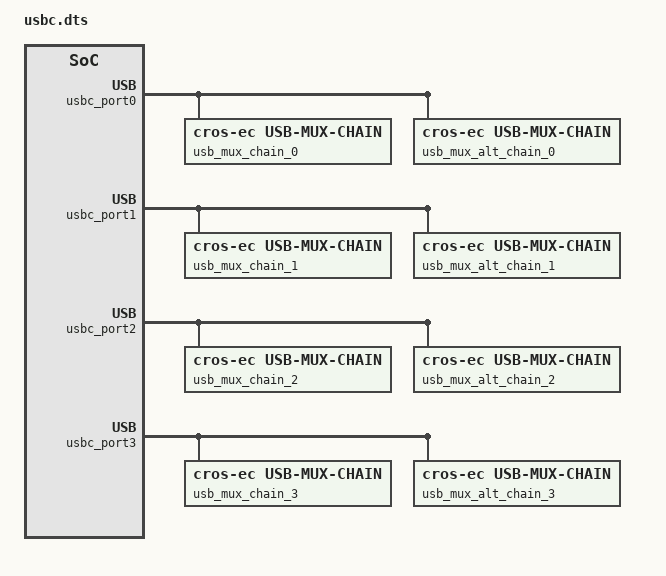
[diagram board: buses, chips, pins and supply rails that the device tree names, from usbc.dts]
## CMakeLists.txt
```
# Copyright 2022 The ChromiumOS Authors
# Use of this source code is governed by a BSD-style license that can be
# found in the LICENSE file.

zephyr_include_directories("${CMAKE_CURRENT_SOURCE_DIR}")
zephyr_library_sources("src/board_id.c")
zephyr_library_sources("src/common.c")
zephyr_library_sources("src/board_power.c")
zephyr_library_sources_ifdef(CONFIG_BOARD_MTLRVP_PD "src/pd.c")

if((DEFINED CONFIG_BOARD_MTLRVP_M1723) OR (DEFINED CONFIG_BOARD_MTLRVP_MCHP) OR (DEFINED CONFIG_BOARD_MTLRVP_NPCX))
  zephyr_library_sources("src/tcpc.c")
endif()

zephyr_library_sources_ifdef(CONFIG_PLATFORM_EC_KEYBOARD_CUSTOMIZATION
			"mtlrvpp_npcx/keyboard_customization.c")
```

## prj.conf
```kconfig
# Copyright 2022 The ChromiumOS Authors
# Use of this source code is governed by a BSD-style license that can be
# found in the LICENSE file.

# Power Sequencing
CONFIG_AP_X86_INTEL_MTL=y
CONFIG_AP_PWRSEQ_DRIVER=n
CONFIG_X86_NON_DSX_PWRSEQ_MTL=y
CONFIG_AP_PWRSEQ_POWER_SIGNALS=y
CONFIG_PLATFORM_EC_POWERSEQ_SLP_S3_L_OVERRIDE=n
CONFIG_PLATFORM_EC_POWERSEQ_PP5000_CONTROL=n

# Battery
CONFIG_PLATFORM_EC_BATTERY_V2=y

# CBI
CONFIG_EEPROM=y
CONFIG_PLATFORM_EC_BYPASS_CBI_EEPROM_WP_CHECK=y
CONFIG_PLATFORM_EC_SYSTEM_UNLOCKED=y

# Disable BC1.2
CONFIG_PLATFORM_EC_USB_CHARGER=n

# Charger
CONFIG_PLATFORM_EC_CHARGER_DISCHARGE_ON_AC=y
CONFIG_PLATFORM_EC_CHARGER_SENSE_RESISTOR=5
CONFIG_PLATFORM_EC_CHARGER_SENSE_RESISTOR_AC=10
CONFIG_PLATFORM_EC_CHARGE_RAMP_HW=n
CONFIG_PLATFORM_EC_CHARGER_ISL9241=y
CONFIG_PLATFORM_EC_DEDICATED_CHARGE_PORT=y
CONFIG_PLATFORM_EC_PD_MAX_POWER_MW=100000

# IOEX
CONFIG_PLATFORM_EC_IOEX_IT8801=y

#Keyboard from I/O expander
CONFIG_CROS_KB_RAW_NPCX=n

# Temperature sensors
CONFIG_PLATFORM_EC_TEMP_SENSOR_POWER=y

# Keyboard
CONFIG_PLATFORM_EC_KEYBOARD_PROTOCOL_8042=y

# MKBP events
CONFIG_PLATFORM_EC_MKBP_EVENT=y
CONFIG_PLATFORM_EC_MKBP_INPUT_DEVICES=y
CONFIG_PLATFORM_EC_MKBP_USE_HOST_EVENT=y

# Tablet mode
CONFIG_PLATFORM_EC_GMR_TABLET_MODE=n
CONFIG_PLATFORM_EC_TABLET_MODE=y
CONFIG_PLATFORM_EC_TABLET_MODE_SWITCH=y
```

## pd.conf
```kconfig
# Copyright 2023 The ChromiumOS Authors
# Use of this source code is governed by a BSD-style license that can be
# found in the LICENSE file.

CONFIG_PLATFORM_EC_USB_MUX_TASK=y
CONFIG_PLATFORM_EC_USB_PD_DP_MODE=y
CONFIG_PLATFORM_EC_USB_PD_HOST_CMD=y
CONFIG_PLATFORM_EC_USB_PD_REQUIRE_AP_MODE_ENTRY=n
CONFIG_PLATFORM_EC_USB_PD_REV30=y
CONFIG_PLATFORM_EC_USB_PD_TBT_COMPAT_MODE=y
CONFIG_PLATFORM_EC_USB_PD_VBUS_MEASURE_NOT_PRESENT=y
CONFIG_PLATFORM_EC_USB_PD_USB4=y
CONFIG_PLATFORM_EC_USBC_SS_MUX=y
CONFIG_PLATFORM_EC_USBC_RETIMER_FW_UPDATE=y

# Disable for testing purpose
CONFIG_PLATFORM_EC_CHARGER=n

# Disable Power Delivery Function
CONFIG_PLATFORM_EC_USB_POWER_DELIVERY=n
CONFIG_PLATFORM_EC_USBC_PPC=n
CONFIG_PLATFORM_EC_USB_PD_PPC=n
CONFIG_PLATFORM_EC_HOSTCMD_PD_CONTROL=n
CONFIG_PLATFORM_EC_HOSTCMD_PD_CHIP_INFO=n
CONFIG_PLATFORM_EC_HOSTCMD_RWHASHPD=n

# Disable typec host commands
CONFIG_PLATFORM_EC_HOSTCMD_TYPEC_DISCOVERY=n
CONFIG_PLATFORM_EC_HOSTCMD_TYPEC_CONTROL=n
CONFIG_PLATFORM_EC_HOSTCMD_TYPEC_STATUS=n
```

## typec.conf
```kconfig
# Copyright 2022 The ChromiumOS Authors
# Use of this source code is governed by a BSD-style license that can be
# found in the LICENSE file.

#USB CONFIG
CONFIG_PLATFORM_EC_USB_DRP_ACC_TRYSRC=y
CONFIG_PLATFORM_EC_USB_MUX_TASK=y
CONFIG_PLATFORM_EC_USBC_PPC_SN5S330=y
CONFIG_PLATFORM_EC_USBC_PPC=y
CONFIG_PLATFORM_EC_USB_PD_PPC=y
CONFIG_PLATFORM_EC_USB_PD_VBUS_DETECT_PPC=y
CONFIG_PLATFORM_EC_USB_PD_VBUS_DETECT_TCPC=y
CONFIG_PLATFORM_EC_USB_PD_VBUS_MEASURE_CHARGER=y
CONFIG_PLATFORM_EC_USB_PD_DISCHARGE_PPC=y
CONFIG_PLATFORM_EC_USB_PD_DISCHARGE_TCPC=y
CONFIG_PLATFORM_EC_USB_PD_TCPC_LOW_POWER=y
CONFIG_PLATFORM_EC_USB_PD_TCPM_MUX=y
CONFIG_PLATFORM_EC_USB_PD_TRY_SRC=y
CONFIG_PLATFORM_EC_USB_PD_TCPM_SBU=y
CONFIG_PLATFORM_EC_USB_PD_DUAL_ROLE_AUTO_TOGGLE=y
CONFIG_PLATFORM_EC_USBC_VCONN=y
CONFIG_PLATFORM_EC_USB_PD_TBT_COMPAT_MODE=y
CONFIG_PLATFORM_EC_USB_PD_USB32_DRD=y
CONFIG_PLATFORM_EC_USB_PD_USB4=y
CONFIG_PLATFORM_EC_USB_PD_INT_SHARED=y
CONFIG_PLATFORM_EC_USB_PD_PORT_0_SHARED=y
CONFIG_PLATFORM_EC_USB_PD_PORT_1_SHARED=y
```

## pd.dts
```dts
/* Copyright 2023 The ChromiumOS Authors
 * Use of this source code is governed by a BSD-style license that can be
 * found in the LICENSE file.
 */

#include <usbc-policy.dtsi>

/ {
	usbc {
		#address-cells = <1>;
		#size-cells = <0>;

		port0@0 {
			compatible = "named-pdc-port";
			reg = <0>;
			chg = <&charger>;
			alt-mode = <&pd_port0>;
			pdc = <&pd_pow_port0>;
			pd-retimer;
			usb-mux-chain-0 {
				compatible = "cros-ec,usb-mux-chain";
				usb-muxes = <&virtual_mux_0>;
			};
			policy = <&cros_policy>;
		};
		port0-muxes {
			virtual_mux_0: virtual-mux-0 {
				compatible = "cros-ec,usbc-mux-virtual";
			};
		};
		port1@1 {
			compatible = "named-pdc-port";
			reg = <1>;
			alt-mode = <&pd_port1>;
			pdc = <&pd_pow_port1>;
			pd-retimer;
			usb-mux-chain-1 {
				compatible = "cros-ec,usb-mux-chain";
				usb-muxes = <&virtual_mux_1>;
			};
			policy = <&cros_policy>;
		};
		port1-muxes {
			virtual_mux_1: virtual-mux-1 {
				compatible = "cros-ec,usbc-mux-virtual";
			};
		};
	};
};
```

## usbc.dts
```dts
/* Copyright 2022 The ChromiumOS Authors
 * Use of this source code is governed by a BSD-style license that can be
 * found in the LICENSE file.
 */

/ {
	usbc {
		#address-cells = <1>;
		#size-cells = <0>;

		usbc_port0: port0@0 {
			compatible = "named-usbc-port";
			reg = <0>;
			tcpc = <&tcpc_port0>;
			ppc = <&ppc_port0>;
			chg = <&charger>;
			pd-altmode = <&pd_port0>;
			usb_mux_chain_0: usb-mux-chain-0 {
				compatible = "cros-ec,usb-mux-chain";
				usb-muxes = <&usb_c0_hb_retimer
					     &virtual_mux_c0>;
			};
			usb_mux_alt_chain_0: usb-mux-atl-chain-0 {
				compatible = "cros-ec,usb-mux-chain";
				alternative-chain;
				usb-muxes = <&virtual_mux_c0>;
			};
		};
		port0-muxes {
			virtual_mux_c0: virtual-mux-c0 {
				compatible = "cros-ec,usbc-mux-virtual";
			};
		};

		usbc_port1: port1@1 {
			compatible = "named-usbc-port";
			reg = <1>;
			tcpc = <&tcpc_port1>;
			ppc = <&ppc_port1>;
			pd-altmode = <&pd_port1>;
			usb_mux_chain_1: usb-mux-chain-1 {
				compatible = "cros-ec,usb-mux-chain";
				usb-muxes = <&usb_c1_hb_retimer
					     &virtual_mux_c1>;
			};

			/* TODO:
			 * LP5 doesn't have port 1; should remove PD_C1
			 * task.
			 */
			usb_mux_alt_chain_1: usb-mux-alt-chain-1 {
				compatible = "cros-ec,usb-mux-chain";
				alternative-chain;
				usb-muxes = <&virtual_mux_c1>;
			};
		};
		port1-muxes {
			virtual_mux_c1: virtual-mux-c1 {
				compatible = "cros-ec,usbc-mux-virtual";
			};
		};

		usbc_port2: port2@2 {
			compatible = "named-usbc-port";
			reg = <2>;
			tcpc = <&tcpc_port2>;
			pd-altmode = <&pd_port2>;
			usb_mux_chain_2: usb-mux-chain-2 {
				compatible = "cros-ec,usb-mux-chain";
				usb-muxes = <&usb_c2_hb_retimer
					     &virtual_mux_c2>;
			};
			usb_mux_alt_chain_2: usb-mux-alt-chain-2 {
				compatible = "cros-ec,usb-mux-chain";
				alternative-chain;
				usb-muxes = <&usb_c2_alt_hb_retimer
					     &virtual_mux_c2>;
			};
		};
		port2-muxes {
			virtual_mux_c2: virtual-mux-c2 {
				compatible = "cros-ec,usbc-mux-virtual";
			};
		};

		usbc_port3: port3@3 {
			compatible = "named-usbc-port";
			reg = <3>;
			tcpc = <&tcpc_port3>;
			pd-altmode = <&pd_port3>;
			usb_mux_chain_3: usb-mux-chain-3 {
				compatible = "cros-ec,usb-mux-chain";
				usb-muxes = <&usb_c3_hb_retimer
					     &virtual_mux_c3>;
			};
			usb_mux_alt_chain_3: usb-mux-alt-chain-3 {
				compatible = "cros-ec,usb-mux-chain";
				alternative-chain;
				usb-muxes = <&usb_c3_alt_hb_retimer
					     &virtual_mux_c3>;
			};
		};
		port3-muxes {
			virtual_mux_c3: virtual-mux-c3 {
				compatible = "cros-ec,usbc-mux-virtual";
			};
		};
	};
};
```

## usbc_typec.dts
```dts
/* Copyright 2022 The ChromiumOS Authors
 * Use of this source code is governed by a BSD-style license that can be
 * found in the LICENSE file.
 */

&usbc_port0 {
	tcpc = <&tcpc_port0>;
	ppc = <&ppc_port0>;
};
&usbc_port1 {
	tcpc = <&tcpc_port1>;
	ppc = <&ppc_port1>;
};
&usbc_port2 {
	tcpc = <&tcpc_port2>;
};
&usbc_port3 {
	tcpc = <&tcpc_port3>;
};
```

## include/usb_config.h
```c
/* Copyright 2022 The ChromiumOS Authors
 * Use of this source code is governed by a BSD-style license that can be
 * found in the LICENSE file.
 */

void board_connect_c0_sbu_deferred(void);
void configure_retimer_usbmux(void);
```

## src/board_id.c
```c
/* Copyright 2024 The ChromiumOS Authors
 * Use of this source code is governed by a BSD-style license that can be
 * found in the LICENSE file.
 */

#include "common.h"
#include "console.h"
#include "intel_rvp_board_id.h"
#include "intelrvp.h"

#define CPRINTF(format, args...) cprintf(CC_COMMAND, format, ##args)
#define CPRINTS(format, args...) cprints(CC_COMMAND, format, ##args)

/*
 * Returns board information (board id[7:0] and Fab id[15:8]) on success
 * -1 on error.
 */
__override int board_get_version(void)
{
	/* Cache the MTLRVP board ID */
	static int mtlrvp_board_id;

	int i;
	int rv = EC_ERROR_UNKNOWN;
	int fab_id, board_id, bom_id;

	/* Board ID is already read */
	if (mtlrvp_board_id)
		return mtlrvp_board_id;

	/*
	 * IOExpander that has Board ID information is on DSW-VAL rail on
	 * MTL RVP. On cold boot cycles, DSW-VAL rail is taking time to settle.
	 * This loop retries to ensure rail is settled and read is successful
	 */
	for (i = 0; i < RVP_VERSION_READ_RETRY_CNT; i++) {
		rv = gpio_pin_get_dt(&bom_id_config[0]);

		if (rv >= 0)
			break;

		k_msleep(1);
	}

	/* return -1 if failed to read board id */
	if (rv)
		return -1;

	/*
	 * BOM ID [2]   : IOEX[0]
	 * BOM ID [1:0] : IOEX[15:14]
	 */
	bom_id = gpio_pin_get_dt(&bom_id_config[0]) << 2;
	bom_id |= gpio_pin_get_dt(&bom_id_config[1]) << 1;
	bom_id |= gpio_pin_get_dt(&bom_id_config[2]);
	/*
	 * FAB ID [1:0] : IOEX[2:1] + 1
	 */
	fab_id = gpio_pin_get_dt(&fab_id_config[0]) << 1;
	fab_id |= gpio_pin_get_dt(&fab_id_config[1]);
	fab_id += 1;

	/*
	 * BOARD ID[5:0] : IOEX[13:8]
	 */
	board_id = gpio_pin_get_dt(&board_id_config[0]) << 5;
	board_id |= gpio_pin_get_dt(&board_id_config[1]) << 4;
	board_id |= gpio_pin_get_dt(&board_id_config[2]) << 3;
	board_id |= gpio_pin_get_dt(&board_id_config[3]) << 2;
	board_id |= gpio_pin_get_dt(&board_id_config[4]) << 1;
	board_id |= gpio_pin_get_dt(&board_id_config[5]);

	CPRINTF("BID:0x%x, FID:0x%x, BOM:0x%x", board_id, fab_id, bom_id);

	mtlrvp_board_id = board_id | (fab_id << 8);
	return mtlrvp_board_id;
}
```

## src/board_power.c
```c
/* Copyright 2022 The ChromiumOS Authors
 * Use of this source code is governed by a BSD-style license that can be
 * found in the LICENSE file.
 */

#include "gpio/gpio.h"
#include "gpio_signal.h"
#include "system_boot_time.h"

#include <zephyr/drivers/gpio.h>
#include <zephyr/logging/log.h>
#include <zephyr/sys/atomic.h>

#include <ap_power/ap_power.h>
#include <ap_power/ap_power_events.h>
#include <ap_power/ap_power_interface.h>
#include <ap_power_override_functions.h>
#include <power_signals.h>
#include <x86_power_signals.h>

LOG_MODULE_DECLARE(ap_pwrseq, LOG_LEVEL_INF);

#if defined(CONFIG_X86_NON_DSX_PWRSEQ_MTL) || \
	defined(CONFIG_TEST_X86_NON_DSX_PWRSEQ_MTL)
#define X86_NON_DSX_MTL_FORCE_SHUTDOWN_TO_MS 50

void board_ap_power_force_shutdown(void)
{
	int timeout_ms = X86_NON_DSX_MTL_FORCE_SHUTDOWN_TO_MS;

	/* Assert PCH_RSMRST to meet tPCH12 */
	power_signal_set(PWR_EC_PCH_RSMRST, 1);

	/* Turn off PRIM load switch. */
	power_signal_set(PWR_EN_PP3300_A, 0);

	/* Wait RSMRST to be off. */
	while (power_signal_get(PWR_RSMRST_PWRGD) && (timeout_ms > 0)) {
		k_msleep(1);
		timeout_ms--;
	};

	if (power_signal_get(PWR_RSMRST_PWRGD))
		LOG_WRN("RSMRST_ODL didn't go low!  Assuming G3.");
}

void board_ap_power_action_g3_s5(void)
{
	/* Turn on the PP3300_PRIM rail. */
	power_signal_set(PWR_EN_PP3300_A, 1);

	update_ap_boot_time(ARAIL);
	if (!power_wait_signals_on_timeout(
		    IN_PGOOD_ALL_CORE,
		    AP_PWRSEQ_DT_VALUE(wait_signal_timeout))) {
		ap_power_ev_send_callbacks(AP_POWER_PRE_INIT);
	}
}

bool board_ap_power_check_power_rails_enabled(void)
{
	return power_signal_get(PWR_EN_PP3300_A);
}
#endif /* CONFIG_X86_NON_DSX_PWRSEQ_MTL */
```

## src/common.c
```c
/* Copyright 2024 The ChromiumOS Authors
 * Use of this source code is governed by a BSD-style license that can be
 * found in the LICENSE file.
 */

#include "common.h"
#include "keyboard_raw.h"

#include <zephyr/drivers/espi.h>

/* eSPI device */
#define espi_dev DEVICE_DT_GET(DT_CHOSEN(cros_ec_espi))

__override void board_overcurrent_event(int port, int is_overcurrented)
{
	/*
	 * Meteorlake PCH uses Virtual Wire for over current error,
	 * hence Send 'Over Current Virtual Wire' eSPI signal.
	 */
	espi_send_vwire(espi_dev, port + ESPI_VWIRE_SIGNAL_TARGET_GPIO_0,
			!is_overcurrented);
}

/******************************************************************************/
/* KSO mapping for discrete keyboard */
__override const uint8_t it8801_kso_mapping[] = {
	0, 1, 20, 3, 4, 5, 6, 11, 12, 13, 14, 15, 16,
};
//BUILD_ASSERT(ARRAY_SIZE(it8801_kso_mapping) == KEYBOARD_COLS_MAX);
```

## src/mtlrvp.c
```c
/* Copyright 2022 The ChromiumOS Authors
 * Use of this source code is governed by a BSD-style license that can be
 * found in the LICENSE file.
 */

#include "common.h"
#include "console.h"
#include "extpower.h"
#include "gpio.h"
#include "gpio/gpio_int.h"
#include "hooks.h"
#include "intel_rvp_board_id.h"
#include "intelrvp.h"
#include "keyboard_raw.h"
#include "task.h"

#include <zephyr/drivers/espi.h>

#define CPRINTF(format, args...) cprintf(CC_COMMAND, format, ##args)
#define CPRINTS(format, args...) cprints(CC_COMMAND, format, ##args)

#ifndef CONFIG_TEST_PROJECT_BOARD_ID
/* eSPI device */
#define espi_dev DEVICE_DT_GET(DT_CHOSEN(cros_ec_espi))

__override void board_overcurrent_event(int port, int is_overcurrented)
{
	/*
	 * Meteorlake PCH uses Virtual Wire for over current error,
	 * hence Send 'Over Current Virtual Wire' eSPI signal.
	 */
	espi_send_vwire(espi_dev, port + ESPI_VWIRE_SIGNAL_TARGET_GPIO_0,
			!is_overcurrented);
}

/******************************************************************************/
/* KSO mapping for discrete keyboard */
__override const uint8_t it8801_kso_mapping[] = {
	0, 1, 20, 3, 4, 5, 6, 11, 12, 13, 14, 15, 16,
};
BUILD_ASSERT(ARRAY_SIZE(it8801_kso_mapping) == KEYBOARD_COLS_MAX);
#endif

/*
 * Returns board information (board id[7:0] and Fab id[15:8]) on success
 * -1 on error.
 */
__override int board_get_version(void)
{
	/* Cache the MTLRVP board ID */
	static int mtlrvp_board_id;

	int i;
	int rv = EC_ERROR_UNKNOWN;
	int fab_id, board_id, bom_id;

	/* Board ID is already read */
	if (mtlrvp_board_id)
		return mtlrvp_board_id;

	/*
	 * IOExpander that has Board ID information is on DSW-VAL rail on
	 * MTL RVP. On cold boot cycles, DSW-VAL rail is taking time to settle.
	 * This loop retries to ensure rail is settled and read is successful
	 */
	for (i = 0; i < RVP_VERSION_READ_RETRY_CNT; i++) {
		rv = gpio_pin_get_dt(&bom_id_config[0]);

		if (rv >= 0)
			break;

		k_msleep(1);
	}

	/* return -1 if failed to read board id */
	if (rv)
		return -1;

	/*
	 * BOM ID [2]   : IOEX[0]
	 * BOM ID [1:0] : IOEX[15:14]
	 */
	bom_id = gpio_pin_get_dt(&bom_id_config[0]) << 2;
	bom_id |= gpio_pin_get_dt(&bom_id_config[1]) << 1;
	bom_id |= gpio_pin_get_dt(&bom_id_config[2]);
	/*
	 * FAB ID [1:0] : IOEX[2:1] + 1
	 */
	fab_id = gpio_pin_get_dt(&fab_id_config[0]) << 1;
	fab_id |= gpio_pin_get_dt(&fab_id_config[1]);
	fab_id += 1;

	/*
	 * BOARD ID[5:0] : IOEX[13:8]
	 */
	board_id = gpio_pin_get_dt(&board_id_config[0]) << 5;
	board_id |= gpio_pin_get_dt(&board_id_config[1]) << 4;
	board_id |= gpio_pin_get_dt(&board_id_config[2]) << 3;
	board_id |= gpio_pin_get_dt(&board_id_config[3]) << 2;
	board_id |= gpio_pin_get_dt(&board_id_config[4]) << 1;
	board_id |= gpio_pin_get_dt(&board_id_config[5]);

	CPRINTF("BID:0x%x, FID:0x%x, BOM:0x%x", board_id, fab_id, bom_id);

	mtlrvp_board_id = board_id | (fab_id << 8);
	return mtlrvp_board_id;
}
```

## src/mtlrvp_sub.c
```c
/* Copyright 2022 The ChromiumOS Authors
 * Use of this source code is governed by a BSD-style license that can be
 * found in the LICENSE file.
 */

#include "battery.h"
#include "battery_fuel_gauge.h"
#include "charger.h"
#include "common.h"
#include "console.h"
#include "extpower.h"
#include "gpio.h"
#include "gpio/gpio_int.h"
#include "hooks.h"
#include "i2c.h"
#include "intel_rvp_board_id.h"
#include "intelrvp.h"
#include "ioexpander.h"
#include "isl9241.h"
#include "keyboard_raw.h"
#include "power/meteorlake.h"
#include "sn5s330.h"
#include "system.h"
#include "task.h"
#include "tusb1064.h"
#include "usb_mux.h"
#include "usbc/usb_muxes.h"
#include "util.h"
#include "usb_config.h"
#include <zephyr/drivers/espi.h>

#define CPRINTF(format, args...) cprintf(CC_COMMAND, format, ##args)
#define CPRINTS(format, args...) cprints(CC_COMMAND, format, ##args)

/* eSPI device */
#define espi_dev DEVICE_DT_GET(DT_CHOSEN(cros_ec_espi))

__override void board_overcurrent_event(int port, int is_overcurrented)
{
	/*
	 * Meteorlake PCH uses Virtual Wire for over current error,
	 * hence Send 'Over Current Virtual Wire' eSPI signal.
	 */
	espi_send_vwire(espi_dev, port + ESPI_VWIRE_SIGNAL_SLV_GPIO_0,
			!is_overcurrented);
}

/******************************************************************************/
/* KSO mapping for discrete keyboard */
__override const uint8_t it8801_kso_mapping[] = {
	0, 1, 20, 3, 4, 5, 6, 11, 12, 13, 14, 15, 16,
};
BUILD_ASSERT(ARRAY_SIZE(it8801_kso_mapping) == KEYBOARD_COLS_MAX);

/* PWROK signal configuration */
/*
 * On MTLRVP, SYS_PWROK_EC is an output controlled by EC and uses ALL_SYS_PWRGD
 * as input.
 */
const struct intel_x86_pwrok_signal pwrok_signal_assert_list[] = {
	{
		.gpio = GPIO_PCH_SYS_PWROK,
		.delay_ms = 3,
	},
};
const int pwrok_signal_assert_count = ARRAY_SIZE(pwrok_signal_assert_list);

const struct intel_x86_pwrok_signal pwrok_signal_deassert_list[] = {
	{
		.gpio = GPIO_PCH_SYS_PWROK,
	},
};
const int pwrok_signal_deassert_count = ARRAY_SIZE(pwrok_signal_deassert_list);

/*
 * Returns board information (board id[7:0] and Fab id[15:8]) on success
 * -1 on error.
 */
__override int board_get_version(void)
{
	/* Cache the MTLRVP board ID */
	static int mtlrvp_board_id;

	int i;
	int rv = EC_ERROR_UNKNOWN;
	int fab_id, board_id, bom_id;

	/* Board ID is already read */
	if (mtlrvp_board_id)
		return mtlrvp_board_id;

	/*
	 * IOExpander that has Board ID information is on DSW-VAL rail on
	 * MTL RVP. On cold boot cycles, DSW-VAL rail is taking time to settle.
	 * This loop retries to ensure rail is settled and read is successful
	 */
	for (i = 0; i < RVP_VERSION_READ_RETRY_CNT; i++) {
		rv = gpio_pin_get_dt(&bom_id_config[0]);

		if (rv >= 0)
			break;

		k_msleep(1);
	}

	/* return -1 if failed to read board id */
	if (rv)
		return -1;

	/*
	 * BOM ID [2]   : IOEX[0]
	 * BOM ID [1:0] : IOEX[15:14]
	 */
	bom_id = gpio_pin_get_dt(&bom_id_config[0]) << 2;
	bom_id |= gpio_pin_get_dt(&bom_id_config[1]) << 1;
	bom_id |= gpio_pin_get_dt(&bom_id_config[2]);
	/*
	 * FAB ID [1:0] : IOEX[2:1] + 1
	 */
	fab_id = gpio_pin_get_dt(&fab_id_config[0]) << 1;
	fab_id |= gpio_pin_get_dt(&fab_id_config[1]);
	fab_id += 1;

	/*
	 * BOARD ID[5:0] : IOEX[13:8]
	 */
	board_id = gpio_pin_get_dt(&board_id_config[0]) << 5;
	board_id |= gpio_pin_get_dt(&board_id_config[1]) << 4;
	board_id |= gpio_pin_get_dt(&board_id_config[2]) << 3;
	board_id |= gpio_pin_get_dt(&board_id_config[3]) << 2;
	board_id |= gpio_pin_get_dt(&board_id_config[4]) << 1;
	board_id |= gpio_pin_get_dt(&board_id_config[5]);

	CPRINTF("BID:0x%x, FID:0x%x, BOM:0x%x", board_id, fab_id, bom_id);

	mtlrvp_board_id = board_id | (fab_id << 8);
	return mtlrvp_board_id;
}
```

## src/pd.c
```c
/* Copyright 2023 The ChromiumOS Authors
 * Use of this source code is governed by a BSD-style license that can be
 * found in the LICENSE file.
 */

#include "common.h"

#if 0
void board_dc_jack_interrupt(enum gpio_signal signal)
{
}
#endif

void board_charging_enable(int port, int enable)
{
}

int board_vbus_source_enabled(int port)
{
	return 0;
}
```

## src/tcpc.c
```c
/* Copyright 2023 The ChromiumOS Authors
 * Use of this source code is governed by a BSD-style license that can be
 * found in the LICENSE file.
 */

#include "driver/retimer/bb_retimer_public.h"
#include "driver/tcpm/ccgxxf.h"
#include "driver/tcpm/nct38xx.h"
#include "driver/tcpm/tcpci.h"
#include "gpio.h"
#include "gpio/gpio_int.h"
#include "hooks.h"
#include "intelrvp.h"
#include "ioexpander.h"
#include "isl9241.h"
#include "sn5s330.h"
#include "tusb1064.h"
#include "usb_mux.h"
#include "usbc/usb_muxes.h"
#include "usbc_ppc.h"

#define CPRINTF(format, args...) cprintf(CC_COMMAND, format, ##args)
#define CPRINTS(format, args...) cprints(CC_COMMAND, format, ##args)

/*******************************************************************/
/* USB-C Configuration Start */

/* PPC */
#define I2C_ADDR_SN5S330_P0 0x40
#define I2C_ADDR_SN5S330_P1 0x41

#define MTLP_DDR5_RVP_SKU_BOARD_ID 0x01
#define MTLP_LP5_RVP_SKU_BOARD_ID 0x02
#define MTL_RVP_BOARD_ID(id) ((id)&0x3F)

/* IOEX ports */
enum ioex_port {
	IOEX_KBD = 0,
#if defined(HAS_TASK_PD_C2)
	IOEX_C2_CCGXXF,
#endif
	IOEX_COUNT
};

/* USB-C ports */
enum usbc_port {
	USBC_PORT_C0 = 0,
	USBC_PORT_C1,
#if defined(HAS_TASK_PD_C2)
	USBC_PORT_C2,
	USBC_PORT_C3,
#endif
	USBC_PORT_COUNT
};
BUILD_ASSERT(USBC_PORT_COUNT == CONFIG_USB_PD_PORT_MAX_COUNT);

/* TCPC AIC GPIO Configuration */
const struct tcpc_aic_config_t tcpc_aic_config[] = {
	[USBC_PORT_C0] = {
		.tcpc_alert = GPIO_SIGNAL(DT_NODELABEL(usbc_tcpc_alrt_p0)),
	},
	[USBC_PORT_C1] = {
		.tcpc_alert = GPIO_SIGNAL(DT_NODELABEL(usbc_tcpc_alrt_p0)),
	},
#if defined(HAS_TASK_PD_C2)
	[USBC_PORT_C2] = {
		.tcpc_alert = GPIO_SIGNAL(DT_NODELABEL(usbc_tcpc_alrt_p2)),
	},
	[USBC_PORT_C3] = {
		.tcpc_alert = GPIO_SIGNAL(DT_NODELABEL(usbc_tcpc_alrt_p3)),
	},
#endif
};
BUILD_ASSERT(ARRAY_SIZE(tcpc_aic_config) == CONFIG_USB_PD_PORT_MAX_COUNT);

static void board_connect_c0_sbu_deferred(void)
{
	enum pd_power_role prole;

	if (gpio_get_level(GPIO_CCD_MODE_ODL)) {
		CPRINTS("Default AUX line connected");
		/* Default set the SBU lines to AUX mode */
		ioex_set_level(IOEX_USB_C0_MUX_SBU_SEL_1, 0);
		ioex_set_level(IOEX_USB_C0_MUX_SBU_SEL_0, 1);
	} else {
		prole = pd_get_power_role(USBC_PORT_C0);
		CPRINTS("%s debug device is attached",
			prole == PD_ROLE_SINK ? "Servo V4C/SuzyQ" : "Intel");

		if (prole == PD_ROLE_SINK) {
			/* Set the SBU lines to Google CCD mode */
			ioex_set_level(IOEX_USB_C0_MUX_SBU_SEL_1, 1);
			ioex_set_level(IOEX_USB_C0_MUX_SBU_SEL_0, 1);
		} else {
			/* Set the SBU lines to Intel CCD mode */
			ioex_set_level(IOEX_USB_C0_MUX_SBU_SEL_1, 0);
			ioex_set_level(IOEX_USB_C0_MUX_SBU_SEL_0, 0);
		}
	}
}
DECLARE_DEFERRED(board_connect_c0_sbu_deferred);

void board_reset_pd_mcu(void)
{
	/* Reset NCT38XX TCPC */
	gpio_pin_set_dt(GPIO_DT_FROM_NODELABEL(usb_c0_c1_tcpc_rst_odl), 0);
	msleep(NCT38XX_RESET_HOLD_DELAY_MS);
	gpio_pin_set_dt(GPIO_DT_FROM_NODELABEL(usb_c0_c1_tcpc_rst_odl), 1);
	nct38xx_reset_notify(0);
	nct38xx_reset_notify(1);

	if (NCT3807_RESET_POST_DELAY_MS != 0) {
		msleep(NCT3807_RESET_POST_DELAY_MS);
	}

	/* NCT38XX chip uses gpio ioex */
	gpio_reset_port(DEVICE_DT_GET(DT_NODELABEL(ioex_c0)));
	gpio_reset_port(DEVICE_DT_GET(DT_NODELABEL(ioex_c1)));

#if defined(HAS_TASK_PD_C2)
	/* Reset the ccgxxf ports only resetting 1 is required */
	ccgxxf_reset(USBC_PORT_C2);

	/* CCGXXF has ioex on port 2 */
	ioex_init(IOEX_C2_CCGXXF);
#endif
}

void board_connect_c0_sbu(enum gpio_signal signal)
{
	hook_call_deferred(&board_connect_c0_sbu_deferred_data, 0);
}

static void board_int_init(void)
{
	/* Enable TCPC interrupts. */
	gpio_enable_dt_interrupt(GPIO_INT_FROM_NODELABEL(int_usb_c0_c1_tcpc));
#if defined(HAS_TASK_PD_C2)
	gpio_enable_dt_interrupt(GPIO_INT_FROM_NODELABEL(int_usb_c2_tcpc));
	gpio_enable_dt_interrupt(GPIO_INT_FROM_NODELABEL(int_usb_c3_tcpc));
#endif

	/* Enable CCD Mode interrupt */
	gpio_enable_dt_interrupt(GPIO_INT_FROM_NODELABEL(int_ccd_mode));
}

static void configure_retimer_usbmux(void)
{
	switch (MTL_RVP_BOARD_ID(board_get_version())) {
	case MTLP_LP5_RVP_SKU_BOARD_ID:
		/* No retimer on Port 0 */
		USB_MUX_ENABLE_ALTERNATIVE(usb_mux_alt_chain_0);
		USB_MUX_ENABLE_ALTERNATIVE(usb_mux_alt_chain_1);
#if defined(HAS_TASK_PD_C2)
		USB_MUX_ENABLE_ALTERNATIVE(usb_mux_alt_chain_2);
		USB_MUX_ENABLE_ALTERNATIVE(usb_mux_alt_chain_3);
#endif
		break;
		/* Add additional board SKUs */
	default:
		break;
	}
}

__override bool board_is_tbt_usb4_port(int port)
{
	bool tbt_usb4 = true;

	switch (MTL_RVP_BOARD_ID(board_get_version())) {
	case MTLP_LP5_RVP_SKU_BOARD_ID:
		/* No retimer on port 0; and port 1 is not available */
		if ((port == USBC_PORT_C0) || (port == USBC_PORT_C1))
			tbt_usb4 = false;
		break;
	default:
		break;
	}
	return tbt_usb4;
}

__override enum tbt_compat_cable_speed board_get_max_tbt_speed(int port)
{
	enum tbt_compat_cable_speed max_speed = TBT_SS_TBT_GEN3;

	switch (MTL_RVP_BOARD_ID(board_get_version())) {
	case MTLP_LP5_RVP_SKU_BOARD_ID:
		if (port == USBC_PORT_C2)
			max_speed = TBT_SS_U32_GEN1_GEN2;
		break;
	default:
		break;
	}

	return max_speed;
}

static int board_pre_task_typec_peripheral_init(void)
{
	/* Only reset tcpc/pd if not sysjump */
	if (!system_jumped_late()) {
		/* Initialize tcpc and all ioex */
		board_reset_pd_mcu();
	}

	/* Initialize all interrupts */
	board_int_init();

	/* Make sure SBU are routed to CCD or AUX based on CCD status at init */
	board_connect_c0_sbu_deferred();

	/* Configure board specific retimer & mux */
	configure_retimer_usbmux();

	return 0;
}
SYS_INIT(board_pre_task_typec_peripheral_init, APPLICATION,
	 CONFIG_APPLICATION_INIT_PRIORITY);

/*
 * Since MTLRVP has both PPC and TCPC ports override to check if the port
 * is a PPC or non PPC port
 */
__override bool pd_check_vbus_level(int port, enum vbus_level level)
{
	if (!board_port_has_ppc(port)) {
		return tcpm_check_vbus_level(port, level);
	} else if (level == VBUS_PRESENT) {
		return pd_snk_is_vbus_provided(port);
	} else {
		return !pd_snk_is_vbus_provided(port);
	}
}

__override bool board_port_has_ppc(int port)
{
	bool ppc_port;

	switch (port) {
	case USBC_PORT_C0:
	case USBC_PORT_C1:
		ppc_port = true;
		break;
	default:
		ppc_port = false;
		break;
	}

	return ppc_port;
}
```

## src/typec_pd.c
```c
/* Copyright 2023 The ChromiumOS Authors
 * Use of this source code is governed by a BSD-style license that can be
 * found in the LICENSE file.
 */

#include "battery.h"
#include "battery_fuel_gauge.h"
#include "charger.h"
#include "common.h"
#include "console.h"
#include "driver/retimer/bb_retimer_public.h"
#include "driver/tcpm/ccgxxf.h"
#include "driver/tcpm/nct38xx.h"
#include "driver/tcpm/tcpci.h"
#include "gpio.h"
#include "gpio/gpio_int.h"
#include "hooks.h"
#include "i2c.h"
#include "intel_rvp_board_id.h"
#include "intelrvp.h"
#include "ioexpander.h"
#include "isl9241.h"
#include "sn5s330.h"
#include "system.h"
#include "task.h"
#include "tusb1064.h"
#include "usb_mux.h"
#include "usbc/usb_muxes.h"
#include "usbc_ppc.h"
#include "util.h"

#include <zephyr/drivers/espi.h>

#define CPRINTF(format, args...) cprintf(CC_COMMAND, format, ##args)
#define CPRINTS(format, args...) cprints(CC_COMMAND, format, ##args)

/* eSPI device */
#define espi_dev DEVICE_DT_GET(DT_CHOSEN(cros_ec_espi))

/*******************************************************************/
/* USB-C Configuration Start */

/* PPC */
#define I2C_ADDR_SN5S330_P0 0x40
#define I2C_ADDR_SN5S330_P1 0x41

#define MTLP_DDR5_RVP_SKU_BOARD_ID 0x01
#define MTLP_LP5_RVP_SKU_BOARD_ID 0x02
#define MTL_RVP_BOARD_ID(id) ((id)&0x3F)

/* IOEX ports */
enum ioex_port {
	IOEX_KBD = 0,
#if defined(HAS_TASK_PD_C2)
	IOEX_C2_CCGXXF,
#endif
	IOEX_COUNT
};

/* USB-C ports */
enum usbc_port {
	USBC_PORT_C0 = 0,
	USBC_PORT_C1,
#if defined(HAS_TASK_PD_C2)
	USBC_PORT_C2,
	USBC_PORT_C3,
#endif
	USBC_PORT_COUNT
};
BUILD_ASSERT(USBC_PORT_COUNT == CONFIG_USB_PD_PORT_MAX_COUNT);

/* TCPC AIC GPIO Configuration */
const struct tcpc_aic_gpio_config_t tcpc_aic_gpios[] = {
	[USBC_PORT_C0] = {
		.tcpc_alert = GPIO_SIGNAL(DT_NODELABEL(usbc_tcpc_alrt_p0)),
		.ppc_alert = GPIO_SIGNAL(DT_NODELABEL(usbc_tcpc_ppc_alrt_p0)),
	},
	[USBC_PORT_C1] = {
		.tcpc_alert = GPIO_SIGNAL(DT_NODELABEL(usbc_tcpc_alrt_p0)),
		.ppc_alert = GPIO_SIGNAL(DT_NODELABEL(usbc_tcpc_ppc_alrt_p1)),
	},
#if defined(HAS_TASK_PD_C2)
	[USBC_PORT_C2] = {
		.tcpc_alert = GPIO_SIGNAL(DT_NODELABEL(usbc_tcpc_alrt_p2)),
		/* No PPC alert for CCGXXF */
	},
	[USBC_PORT_C3] = {
		.tcpc_alert = GPIO_SIGNAL(DT_NODELABEL(usbc_tcpc_alrt_p3)),
		/* No PPC alert for CCGXXF */
	},
#endif
};
BUILD_ASSERT(ARRAY_SIZE(tcpc_aic_gpios) == CONFIG_USB_PD_PORT_MAX_COUNT);

static void board_connect_c0_sbu_deferred(void)
{
	enum pd_power_role prole;

	if (gpio_get_level(GPIO_CCD_MODE_ODL)) {
		CPRINTS("Default AUX line connected");
		/* Default set the SBU lines to AUX mode */
		ioex_set_level(IOEX_USB_C0_MUX_SBU_SEL_1, 0);
		ioex_set_level(IOEX_USB_C0_MUX_SBU_SEL_0, 1);
	} else {
		prole = pd_get_power_role(USBC_PORT_C0);
		CPRINTS("%s debug device is attached",
			prole == PD_ROLE_SINK ? "Servo V4C/SuzyQ" : "Intel");

		if (prole == PD_ROLE_SINK) {
			/* Set the SBU lines to Google CCD mode */
			ioex_set_level(IOEX_USB_C0_MUX_SBU_SEL_1, 1);
			ioex_set_level(IOEX_USB_C0_MUX_SBU_SEL_0, 1);
		} else {
			/* Set the SBU lines to Intel CCD mode */
			ioex_set_level(IOEX_USB_C0_MUX_SBU_SEL_1, 0);
			ioex_set_level(IOEX_USB_C0_MUX_SBU_SEL_0, 0);
		}
	}
}
DECLARE_DEFERRED(board_connect_c0_sbu_deferred);

void board_reset_pd_mcu(void)
{
	/* Reset NCT38XX TCPC */
	gpio_pin_set_dt(GPIO_DT_FROM_NODELABEL(usb_c0_c1_tcpc_rst_odl), 0);
	msleep(NCT38XX_RESET_HOLD_DELAY_MS);
	gpio_pin_set_dt(GPIO_DT_FROM_NODELABEL(usb_c0_c1_tcpc_rst_odl), 1);
	nct38xx_reset_notify(0);
	nct38xx_reset_notify(1);

	if (NCT3807_RESET_POST_DELAY_MS != 0) {
		msleep(NCT3807_RESET_POST_DELAY_MS);
	}

	/* NCT38XX chip uses gpio ioex */
	gpio_reset_port(DEVICE_DT_GET(DT_NODELABEL(ioex_c0)));
	gpio_reset_port(DEVICE_DT_GET(DT_NODELABEL(ioex_c1)));

#if defined(HAS_TASK_PD_C2)
	/* Reset the ccgxxf ports only resetting 1 is required */
	ccgxxf_reset(USBC_PORT_C2);

	/* CCGXXF has ioex on port 2 */
	ioex_init(IOEX_C2_CCGXXF);
#endif
}

void board_connect_c0_sbu(enum gpio_signal signal)
{
	hook_call_deferred(&board_connect_c0_sbu_deferred_data, 0);
}

static void board_int_init(void)
{
	/* Enable TCPC interrupts. */
	gpio_enable_dt_interrupt(GPIO_INT_FROM_NODELABEL(int_usb_c0_c1_tcpc));
#if defined(HAS_TASK_PD_C2)
	gpio_enable_dt_interrupt(GPIO_INT_FROM_NODELABEL(int_usb_c2_tcpc));
	gpio_enable_dt_interrupt(GPIO_INT_FROM_NODELABEL(int_usb_c3_tcpc));
#endif

	/* Enable CCD Mode interrupt */
	gpio_enable_dt_interrupt(GPIO_INT_FROM_NODELABEL(int_ccd_mode));
}

static void configure_retimer_usbmux(void)
{
	switch (MTL_RVP_BOARD_ID(board_get_version())) {
	case MTLP_LP5_RVP_SKU_BOARD_ID:
		/* No retimer on Port 0 */
		USB_MUX_ENABLE_ALTERNATIVE(usb_mux_alt_chain_0);
		USB_MUX_ENABLE_ALTERNATIVE(usb_mux_alt_chain_1);
#if defined(HAS_TASK_PD_C2)
		USB_MUX_ENABLE_ALTERNATIVE(usb_mux_alt_chain_2);
		USB_MUX_ENABLE_ALTERNATIVE(usb_mux_alt_chain_3);
#endif
		break;
		/* Add additional board SKUs */
	default:
		break;
	}
}

__override bool board_is_tbt_usb4_port(int port)
{
	bool tbt_usb4 = true;

	switch (MTL_RVP_BOARD_ID(board_get_version())) {
	case MTLP_LP5_RVP_SKU_BOARD_ID:
		/* No retimer on port 0; and port 1 is not available */
		if ((port == USBC_PORT_C0) || (port == USBC_PORT_C1))
			tbt_usb4 = false;
		break;
	default:
		break;
	}
	return tbt_usb4;
}

__override enum tbt_compat_cable_speed board_get_max_tbt_speed(int port)
{
	enum tbt_compat_cable_speed max_speed = TBT_SS_TBT_GEN3;

	switch (MTL_RVP_BOARD_ID(board_get_version())) {
	case MTLP_LP5_RVP_SKU_BOARD_ID:
		if (port == USBC_PORT_C2)
			max_speed = TBT_SS_U32_GEN1_GEN2;
		break;
	default:
		break;
	}

	return max_speed;
}

static int board_pre_task_typec_peripheral_init(void)
{
	/* Only reset tcpc/pd if not sysjump */
	if (!system_jumped_late()) {
		/* Initialize tcpc and all ioex */
		board_reset_pd_mcu();
	}

	/* Initialize all interrupts */
	board_int_init();

	/* Make sure SBU are routed to CCD or AUX based on CCD status at init */
	board_connect_c0_sbu_deferred();

	/* Configure board specific retimer & mux */
	configure_retimer_usbmux();

	return 0;
}
SYS_INIT(board_pre_task_typec_peripheral_init, APPLICATION,
	 CONFIG_APPLICATION_INIT_PRIORITY);

/*
 * Since MTLRVP has both PPC and TCPC ports override to check if the port
 * is a PPC or non PPC port
 */
__override bool pd_check_vbus_level(int port, enum vbus_level level)
{
	if (!board_port_has_ppc(port)) {
		return tcpm_check_vbus_level(port, level);
	} else if (level == VBUS_PRESENT) {
		return pd_snk_is_vbus_provided(port);
	} else {
		return !pd_snk_is_vbus_provided(port);
	}
}

__override bool board_port_has_ppc(int port)
{
	bool ppc_port;

	switch (port) {
	case USBC_PORT_C0:
	case USBC_PORT_C1:
		ppc_port = true;
		break;
	default:
		ppc_port = false;
		break;
	}

	return ppc_port;
}
```

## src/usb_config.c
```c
/* Copyright 2022 The ChromiumOS Authors
 * Use of this source code is governed by a BSD-style license that can be
 * found in the LICENSE file.
 */

#include "common.h"
#include "console.h"
#include "driver/retimer/bb_retimer_public.h"
#include "driver/tcpm/ccgxxf.h"
#include "driver/tcpm/nct38xx.h"
#include "driver/tcpm/tcpci.h"
#include "gpio.h"
#include "gpio/gpio_int.h"
#include "hooks.h"
#include "i2c.h"
#include "intel_rvp_board_id.h"
#include "intelrvp.h"
#include "ioexpander.h"
#include "isl9241.h"
#include "keyboard_raw.h"
#include "power/meteorlake.h"
#include "sn5s330.h"
#include "system.h"
#include "task.h"
#include "tusb1064.h"
#include "usb_mux.h"
#include "usbc/usb_muxes.h"
#include "usbc_ppc.h"
#include "util.h"
#include "usb_config.h"
#include <zephyr/drivers/espi.h>

#define CPRINTF(format, args...) cprintf(CC_COMMAND, format, ##args)
#define CPRINTS(format, args...) cprints(CC_COMMAND, format, ##args)

/* USB-C Configuration Start */

/* PPC */
#define I2C_ADDR_SN5S330_P0 0x40
#define I2C_ADDR_SN5S330_P1 0x41

#define MTLP_DDR5_RVP_SKU_BOARD_ID 0x01
#define MTLP_LP5_RVP_SKU_BOARD_ID 0x02
#define MTL_RVP_BOARD_ID(id) ((id)&0x3F)

/* IOEX ports */
enum ioex_port {
	IOEX_KBD = 0,
#if defined(HAS_TASK_PD_C2)
	IOEX_C2_CCGXXF,
#endif
	IOEX_COUNT
};

/* USB-C ports */
enum usbc_port {
	USBC_PORT_C0 = 0,
	USBC_PORT_C1,
#if defined(HAS_TASK_PD_C2)
	USBC_PORT_C2,
	USBC_PORT_C3,
#endif
	USBC_PORT_COUNT
};
BUILD_ASSERT(USBC_PORT_COUNT == CONFIG_USB_PD_PORT_MAX_COUNT);

/* TCPC AIC GPIO Configuration */
const struct tcpc_aic_gpio_config_t tcpc_aic_gpios[] = {
	[USBC_PORT_C0] = {
		.tcpc_alert = GPIO_SIGNAL(DT_NODELABEL(usbc_tcpc_alrt_p0)),
		.ppc_alert = GPIO_SIGNAL(DT_NODELABEL(usbc_tcpc_ppc_alrt_p0)),
	},
	[USBC_PORT_C1] = {
		.tcpc_alert = GPIO_SIGNAL(DT_NODELABEL(usbc_tcpc_alrt_p0)),
		.ppc_alert = GPIO_SIGNAL(DT_NODELABEL(usbc_tcpc_ppc_alrt_p1)),
	},
#if defined(HAS_TASK_PD_C2)
	[USBC_PORT_C2] = {
		.tcpc_alert = GPIO_SIGNAL(DT_NODELABEL(usbc_tcpc_alrt_p2)),
		/* No PPC alert for CCGXXF */
	},
	[USBC_PORT_C3] = {
		.tcpc_alert = GPIO_SIGNAL(DT_NODELABEL(usbc_tcpc_alrt_p3)),
		/* No PPC alert for CCGXXF */
	},
#endif
};

BUILD_ASSERT(ARRAY_SIZE(tcpc_aic_gpios) == CONFIG_USB_PD_PORT_MAX_COUNT);


void board_connect_c0_sbu_deferred(void)
{
	enum pd_power_role prole;

	if (gpio_get_level(GPIO_CCD_MODE_ODL)) {
		CPRINTS("Default AUX line connected");
		/* Default set the SBU lines to AUX mode */
		ioex_set_level(IOEX_USB_C0_MUX_SBU_SEL_1, 0);
		ioex_set_level(IOEX_USB_C0_MUX_SBU_SEL_0, 1);
	} else {
		prole = pd_get_power_role(USBC_PORT_C0);
		CPRINTS("%s debug device is attached",
		prole == PD_ROLE_SINK ? "Servo V4C/SuzyQ" : "Intel");

		if (prole == PD_ROLE_SINK) {
			/* Set the SBU lines to Google CCD mode */
			ioex_set_level(IOEX_USB_C0_MUX_SBU_SEL_1, 1);
			ioex_set_level(IOEX_USB_C0_MUX_SBU_SEL_0, 1);
		} else {
			/* Set the SBU lines to Intel CCD mode */
			ioex_set_level(IOEX_USB_C0_MUX_SBU_SEL_1, 0);
			ioex_set_level(IOEX_USB_C0_MUX_SBU_SEL_0, 0);
		}
	}
}
DECLARE_DEFERRED(board_connect_c0_sbu_deferred);

void board_connect_c0_sbu(enum gpio_signal signal)
{
	hook_call_deferred(&board_connect_c0_sbu_deferred_data, 0);
}
void board_reset_pd_mcu(void)
{
	/* Reset NCT38XX TCPC */
	gpio_pin_set_dt(GPIO_DT_FROM_NODELABEL(usb_c0_c1_tcpc_rst_odl), 0);
	msleep(NCT38XX_RESET_HOLD_DELAY_MS);
	gpio_pin_set_dt(GPIO_DT_FROM_NODELABEL(usb_c0_c1_tcpc_rst_odl), 1);
	//nct38xx_reset_notify(0);
	//nct38xx_reset_notify(1);

	if (NCT3807_RESET_POST_DELAY_MS != 0) {
		msleep(NCT3807_RESET_POST_DELAY_MS);
	}

	/* NCT38XX chip uses gpio ioex */
	gpio_reset_port(DEVICE_DT_GET(DT_NODELABEL(ioex_c0)));
	gpio_reset_port(DEVICE_DT_GET(DT_NODELABEL(ioex_c1)));

#if defined(HAS_TASK_PD_C2)
	/* Reset the ccgxxf ports only resetting 1 is required */
	ccgxxf_reset(USBC_PORT_C2);

	/* CCGXXF has ioex on port 2 */
	ioex_init(IOEX_C2_CCGXXF);
#endif
}

void configure_retimer_usbmux(void)
{
	switch (MTL_RVP_BOARD_ID(board_get_version())) {
	case MTLP_LP5_RVP_SKU_BOARD_ID:
		/* No retimer on Port 0 */
		USB_MUX_ENABLE_ALTERNATIVE(usb_mux_alt_chain_0);
		USB_MUX_ENABLE_ALTERNATIVE(usb_mux_alt_chain_1);
#if defined(HAS_TASK_PD_C2)
		USB_MUX_ENABLE_ALTERNATIVE(usb_mux_alt_chain_2);
		USB_MUX_ENABLE_ALTERNATIVE(usb_mux_alt_chain_3);
#endif
		break;
		/* Add additional board SKUs */
	default:
		break;
	}
}

__override bool board_is_tbt_usb4_port(int port)
{
	bool tbt_usb4 = true;

	switch (MTL_RVP_BOARD_ID(board_get_version())) {
	case MTLP_LP5_RVP_SKU_BOARD_ID:
		/* No retimer on port 0; and port 1 is not available */
		if ((port == USBC_PORT_C0) || (port == USBC_PORT_C1))
			tbt_usb4 = false;
		break;
	default:
		break;
	}
	return tbt_usb4;
}

__override enum tbt_compat_cable_speed board_get_max_tbt_speed(int port)
{
	enum tbt_compat_cable_speed max_speed = TBT_SS_TBT_GEN3;

	switch (MTL_RVP_BOARD_ID(board_get_version())) {
	case MTLP_LP5_RVP_SKU_BOARD_ID:
		if (port == USBC_PORT_C2)
			max_speed = TBT_SS_U32_GEN1_GEN2;
		break;
	default:
		break;
	}

	return max_speed;
}
/*
 * Since MTLRVP has both PPC and TCPC ports override to check if the port
 * is a PPC or non PPC port
 */
__override bool pd_check_vbus_level(int port, enum vbus_level level)
{
	if (!board_port_has_ppc(port)) {
		return tcpm_check_vbus_level(port, level);
	} else if (level == VBUS_PRESENT) {
		return pd_snk_is_vbus_provided(port);
	} else {
		return !pd_snk_is_vbus_provided(port);
	}
}

__override bool board_port_has_ppc(int port)
{
	bool ppc_port;

	switch (port) {
	case USBC_PORT_C0:
	case USBC_PORT_C1:
		ppc_port = true;
		break;
	default:
		ppc_port = false;
		break;
	}

	return ppc_port;
}
```
